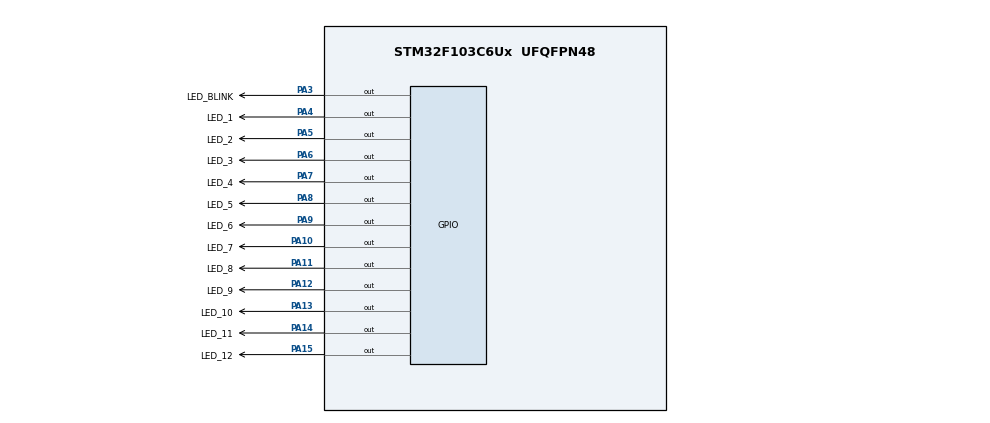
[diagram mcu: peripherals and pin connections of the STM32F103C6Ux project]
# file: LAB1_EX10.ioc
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Mcu.Family=STM32F1
Mcu.Name=STM32F103C6Ux
Mcu.Package=UFQFPN48
NVIC.PriorityGroup=NVIC_PRIORITYGROUP_4
PA10.GPIO_Label=LED_7
PA10.Signal=GPIO_Output
PA11.GPIO_Label=LED_8
PA11.Signal=GPIO_Output
PA12.GPIO_Label=LED_9
PA12.Signal=GPIO_Output
PA13.GPIO_Label=LED_10
PA13.Signal=GPIO_Output
PA14.GPIO_Label=LED_11
PA14.Signal=GPIO_Output
PA15.GPIO_Label=LED_12
PA15.Signal=GPIO_Output
PA3.GPIO_Label=LED_BLINK
PA3.Signal=GPIO_Output
PA4.GPIO_Label=LED_1
PA4.Signal=GPIO_Output
PA5.GPIO_Label=LED_2
PA5.Signal=GPIO_Output
PA6.GPIO_Label=LED_3
PA6.Signal=GPIO_Output
PA7.GPIO_Label=LED_4
PA7.Signal=GPIO_Output
PA8.GPIO_Label=LED_5
PA8.Signal=GPIO_Output
PA9.GPIO_Label=LED_6
PA9.Signal=GPIO_Output
ProjectManager.HeapSize=0x200
ProjectManager.StackSize=0x400
ProjectManager.TargetToolchain=STM32CubeIDE
RCC.APB1Freq_Value=8000000
RCC.APB2Freq_Value=8000000
VP_SYS_VS_ND.Mode=No_Debug
board=custom

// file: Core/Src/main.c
/* USER CODE BEGIN Header */
/**
  ******************************************************************************
  * @file           : main.c
  * @brief          : Main program body
  ******************************************************************************
  * @attention
  *
  * <h2><center>&copy; Copyright (c) 2025 STMicroelectronics.
  * All rights reserved.</center></h2>
  *
  * This software component is licensed by ST under BSD 3-Clause license,
  * the "License"; You may not use this file except in compliance with the
  * License. You may obtain a copy of the License at:
  *                        opensource.org/licenses/BSD-3-Clause
  *
  ******************************************************************************
  */
/* USER CODE END Header */
#include "main.h"

void SystemClock_Config(void);
static void MX_GPIO_Init(void);

int main(void)
{

  /* MCU Configuration--------------------------------------------------------*/

  /* Reset of all peripherals, Initializes the Flash interface and the Systick. */
  HAL_Init();

  /* Configure the system clock */
  SystemClock_Config();

  /* Initialize all configured peripherals */
  MX_GPIO_Init();

  /* Infinite loop */
  /* USER CODE BEGIN WHILE */

  int second_counter = 0;
  int minute_counter = 0;
  int hour_counter = 0;
  HAL_GPIO_WritePin(LED_1_GPIO_Port, LED_1_Pin, SET);
  HAL_GPIO_WritePin(LED_2_GPIO_Port, LED_2_Pin, SET);
  HAL_GPIO_WritePin(LED_3_GPIO_Port, LED_3_Pin, SET);
  HAL_GPIO_WritePin(LED_4_GPIO_Port, LED_4_Pin, SET);
  HAL_GPIO_WritePin(LED_5_GPIO_Port, LED_5_Pin, SET);
  HAL_GPIO_WritePin(LED_6_GPIO_Port, LED_6_Pin, SET);
  HAL_GPIO_WritePin(LED_7_GPIO_Port, LED_7_Pin, SET);
  HAL_GPIO_WritePin(LED_8_GPIO_Port, LED_8_Pin, SET);
  HAL_GPIO_WritePin(LED_9_GPIO_Port, LED_9_Pin, SET);
  HAL_GPIO_WritePin(LED_10_GPIO_Port, LED_10_Pin, SET);
  HAL_GPIO_WritePin(LED_11_GPIO_Port, LED_11_Pin, SET);
  HAL_GPIO_WritePin(LED_12_GPIO_Port, LED_12_Pin, RESET);
  while (1)
  {
	  HAL_GPIO_TogglePin(LED_BLINK_GPIO_Port, LED_BLINK_Pin);

	  // SECOND COUNTER
	  switch (second_counter) {
	  case 5:
		  HAL_GPIO_WritePin(LED_1_GPIO_Port, LED_1_Pin, RESET);
		  if (hour_counter != 0 && (!(minute_counter >= 0 && minute_counter < 5)))
			  HAL_GPIO_WritePin(LED_12_GPIO_Port, LED_12_Pin, SET);
		  break;
	  case 10:
		  HAL_GPIO_WritePin(LED_2_GPIO_Port, LED_2_Pin, RESET);
		  if (hour_counter != 1 && (!(minute_counter >= 5 && minute_counter < 10)))
			  HAL_GPIO_WritePin(LED_1_GPIO_Port, LED_1_Pin, SET);
		  break;
	  case 15:
		  HAL_GPIO_WritePin(LED_3_GPIO_Port, LED_3_Pin, RESET);
		  if (hour_counter != 2 && (!(minute_counter >= 10 && minute_counter < 15)))
			  HAL_GPIO_WritePin(LED_2_GPIO_Port, LED_2_Pin, SET);
		  break;
	  case 20:
		  HAL_GPIO_WritePin(LED_4_GPIO_Port, LED_4_Pin, RESET);
		  if (hour_counter != 3 && (!(minute_counter >= 15 && minute_counter < 20)))
			  HAL_GPIO_WritePin(LED_3_GPIO_Port, LED_3_Pin, SET);
		  break;
	  case 25:
		  HAL_GPIO_WritePin(LED_5_GPIO_Port, LED_5_Pin, RESET);
		  if (hour_counter != 4 && (!(minute_counter >= 20 && minute_counter < 25)))
			  HAL_GPIO_WritePin(LED_4_GPIO_Port, LED_4_Pin, SET);
		  break;
	  case 30:
		  HAL_GPIO_WritePin(LED_6_GPIO_Port, LED_6_Pin, RESET);
		  if (hour_counter != 5 && (!(minute_counter >= 25 && minute_counter < 30)))
			  HAL_GPIO_WritePin(LED_5_GPIO_Port, LED_5_Pin, SET);
		  break;
	  case 35:
		  HAL_GPIO_WritePin(LED_7_GPIO_Port, LED_7_Pin, RESET);
		  if (hour_counter != 6 && (!(minute_counter >= 30 && minute_counter < 35)))
			  HAL_GPIO_WritePin(LED_6_GPIO_Port, LED_6_Pin, SET);
		  break;
	  case 40:
		  HAL_GPIO_WritePin(LED_8_GPIO_Port, LED_8_Pin, RESET);
		  if (hour_counter != 7 && (!(minute_counter >= 35 && minute_counter < 40)))
			  HAL_GPIO_WritePin(LED_7_GPIO_Port, LED_7_Pin, SET);
		  break;
	  case 45:
		  HAL_GPIO_WritePin(LED_9_GPIO_Port, LED_9_Pin, RESET);
		  if (hour_counter != 8 && (!(minute_counter >= 40 && minute_counter < 45)))
			  HAL_GPIO_WritePin(LED_8_GPIO_Port, LED_8_Pin, SET);
		  break;
	  case 50:
		  HAL_GPIO_WritePin(LED_10_GPIO_Port, LED_10_Pin, RESET);
		  if (hour_counter != 9 && (!(minute_counter >= 45 && minute_counter < 50)))
			  HAL_GPIO_WritePin(LED_9_GPIO_Port, LED_9_Pin, SET);
		  break;
	  case 55:
		  HAL_GPIO_WritePin(LED_11_GPIO_Port, LED_11_Pin, RESET);
		  if (hour_counter != 10 && (!(minute_counter >= 50 && minute_counter < 55)))
			  HAL_GPIO_WritePin(LED_10_GPIO_Port, LED_10_Pin, SET);
		  break;
	  case 60:
		  HAL_GPIO_WritePin(LED_12_GPIO_Port, LED_12_Pin, RESET);
		  if (hour_counter != 11 && (!(minute_counter >= 55 && minute_counter < 60)))
			  HAL_GPIO_WritePin(LED_11_GPIO_Port, LED_11_Pin, SET);
		  minute_counter = minute_counter + 1;
		  second_counter = 0;
		  break;
	  default:
		  break;
	  }

	  // MINUTE COUNTER
	  switch (minute_counter) {
	  case 5:
		  HAL_GPIO_WritePin(LED_1_GPIO_Port, LED_1_Pin, RESET);
		  if (hour_counter != 0 && (!(second_counter >= 0 && second_counter < 5)))
			  HAL_GPIO_WritePin(LED_12_GPIO_Port, LED_12_Pin, SET);
		  break;
	  case 10:
		  HAL_GPIO_WritePin(LED_2_GPIO_Port, LED_2_Pin, RESET);
		  if (hour_counter != 1 && (!(second_counter >= 5 && second_counter < 10)))
			  HAL_GPIO_WritePin(LED_1_GPIO_Port, LED_1_Pin, SET);
		  break;
	  case 15:
		  HAL_GPIO_WritePin(LED_3_GPIO_Port, LED_3_Pin, RESET);
		  if (hour_counter != 2 && (!(second_counter >= 10 && second_counter < 15)))
			  HAL_GPIO_WritePin(LED_2_GPIO_Port, LED_2_Pin, SET);
		  break;
	  case 20:
		  HAL_GPIO_WritePin(LED_4_GPIO_Port, LED_4_Pin, RESET);
		  if (hour_counter != 3 && (!(second_counter >= 15 && second_counter < 20)))
			  HAL_GPIO_WritePin(LED_3_GPIO_Port, LED_3_Pin, SET);
		  break;
	  case 25:
		  HAL_GPIO_WritePin(LED_5_GPIO_Port, LED_5_Pin, RESET);
		  if (hour_counter != 4 && (!(second_counter >= 20 && second_counter < 25)))
			  HAL_GPIO_WritePin(LED_4_GPIO_Port, LED_4_Pin, SET);
		  break;
	  case 30:
		  HAL_GPIO_WritePin(LED_6_GPIO_Port, LED_6_Pin, RESET);
		  if (hour_counter != 5 && (!(second_counter >= 25 && second_counter < 30)))
			  HAL_GPIO_WritePin(LED_5_GPIO_Port, LED_5_Pin, SET);
		  break;
	  case 35:
		  HAL_GPIO_WritePin(LED_7_GPIO_Port, LED_7_Pin, RESET);
		  if (hour_counter != 6 && (!(second_counter >= 30 && second_counter < 35)))
			  HAL_GPIO_WritePin(LED_6_GPIO_Port, LED_6_Pin, SET);
		  break;
	  case 40:
		  HAL_GPIO_WritePin(LED_8_GPIO_Port, LED_8_Pin, RESET);
		  if (hour_counter != 7 && (!(second_counter >= 35 && second_counter < 40)))
			  HAL_GPIO_WritePin(LED_7_GPIO_Port, LED_7_Pin, SET);
		  break;
	  case 45:
		  HAL_GPIO_WritePin(LED_9_GPIO_Port, LED_9_Pin, RESET);
		  if (hour_counter != 8 && (!(second_counter >= 40 && second_counter < 45)))
			  HAL_GPIO_WritePin(LED_8_GPIO_Port, LED_8_Pin, SET);
		  break;
	  case 50:
		  HAL_GPIO_WritePin(LED_10_GPIO_Port, LED_10_Pin, RESET);
		  if (hour_counter != 9 && (!(second_counter >= 45 && second_counter < 50)))
			  HAL_GPIO_WritePin(LED_9_GPIO_Port, LED_9_Pin, SET);
		  break;
	  case 55:
		  HAL_GPIO_WritePin(LED_11_GPIO_Port, LED_11_Pin, RESET);
		  if (hour_counter != 10 && (!(second_counter >= 50 && second_counter < 55)))
			  HAL_GPIO_WritePin(LED_10_GPIO_Port, LED_10_Pin, SET);
		  break;
	  case 60:
		  HAL_GPIO_WritePin(LED_12_GPIO_Port, LED_12_Pin, RESET);
		  if (hour_counter != 11 && (!(second_counter >= 55 && second_counter < 60)))
			  HAL_GPIO_WritePin(LED_11_GPIO_Port, LED_11_Pin, SET);
		  hour_counter = hour_counter + 1;
		  minute_counter = 0;
		  break;
	  default:
		  break;
	  }

	  // HOUR COUNTER
	  switch (hour_counter) {
	  case 1:
		  HAL_GPIO_WritePin(LED_1_GPIO_Port, LED_1_Pin, RESET);
		  if ((!(second_counter >= 0 && second_counter < 5)) && (!(minute_counter >= 0 && minute_counter < 5)))
			  HAL_GPIO_WritePin(LED_12_GPIO_Port, LED_12_Pin, SET);
		  break;
	  case 2:
		  HAL_GPIO_WritePin(LED_2_GPIO_Port, LED_2_Pin, RESET);
		  if ((!(second_counter >= 5 && second_counter < 10)) && (!(minute_counter >= 5 && minute_counter < 10)))
			  HAL_GPIO_WritePin(LED_1_GPIO_Port, LED_1_Pin, SET);
		  break;
	  case 3:
		  HAL_GPIO_WritePin(LED_3_GPIO_Port, LED_3_Pin, RESET);
		  if ((!(second_counter >= 10 && second_counter < 15)) && (!(minute_counter >= 10 && minute_counter < 15)))
			  HAL_GPIO_WritePin(LED_2_GPIO_Port, LED_2_Pin, SET);
		  break;
	  case 4:
		  HAL_GPIO_WritePin(LED_4_GPIO_Port, LED_4_Pin, RESET);
		  if ((!(second_counter >= 15 && second_counter < 20)) && (!(minute_counter >= 15 && minute_counter < 20)))
			  HAL_GPIO_WritePin(LED_3_GPIO_Port, LED_3_Pin, SET);
		  break;
	  case 5:
		  HAL_GPIO_WritePin(LED_5_GPIO_Port, LED_5_Pin, RESET);
		  if ((!(second_counter >= 20 && second_counter < 25)) && (!(minute_counter >= 20 && minute_counter < 25)))
			  HAL_GPIO_WritePin(LED_4_GPIO_Port, LED_4_Pin, SET);
		  break;
	  case 6:
		  HAL_GPIO_WritePin(LED_6_GPIO_Port, LED_6_Pin, RESET);
		  if ((!(second_counter >= 25 && second_counter < 30)) && (!(minute_counter >= 25 && minute_counter < 30)))
			  HAL_GPIO_WritePin(LED_5_GPIO_Port, LED_5_Pin, SET);
		  break;
	  case 7:
		  HAL_GPIO_WritePin(LED_7_GPIO_Port, LED_7_Pin, RESET);
		  if ((!(second_counter >= 30 && second_counter < 35)) && (!(minute_counter >= 30 && minute_counter < 35)))
			  HAL_GPIO_WritePin(LED_6_GPIO_Port, LED_6_Pin, SET);
		  break;
	  case 8:
		  HAL_GPIO_WritePin(LED_8_GPIO_Port, LED_8_Pin, RESET);
		  if ((!(second_counter >= 35 && second_counter < 40)) && (!(minute_counter >= 35 && minute_counter < 40)))
			  HAL_GPIO_WritePin(LED_7_GPIO_Port, LED_7_Pin, SET);
		  break;
	  case 9:
		  HAL_GPIO_WritePin(LED_9_GPIO_Port, LED_9_Pin, RESET);
		  if ((!(second_counter >= 40 && second_counter < 45)) && (!(minute_counter >= 40 && minute_counter < 45)))
			  HAL_GPIO_WritePin(LED_8_GPIO_Port, LED_8_Pin, SET);
		  break;
	  case 10:
		  HAL_GPIO_WritePin(LED_10_GPIO_Port, LED_10_Pin, RESET);
		  if ((!(second_counter >= 45 && second_counter < 50)) && (!(minute_counter >= 45 && minute_counter < 50)))
			  HAL_GPIO_WritePin(LED_9_GPIO_Port, LED_9_Pin, SET);
		  break;
	  case 11:
		  HAL_GPIO_WritePin(LED_11_GPIO_Port, LED_11_Pin, RESET);
		  if ((!(second_counter >= 50 && second_counter < 55)) && (!(minute_counter >= 50 && minute_counter < 55)))
			  HAL_GPIO_WritePin(LED_10_GPIO_Port, LED_10_Pin, SET);
		  break;
	  case 12:
		  HAL_GPIO_WritePin(LED_12_GPIO_Port, LED_12_Pin, RESET);
		  if ((!(second_counter >= 55 && second_counter < 60)) && (!(minute_counter >= 55 && minute_counter < 60)))
			  HAL_GPIO_WritePin(LED_11_GPIO_Port, LED_11_Pin, SET);
		  hour_counter = 0;
		  break;
	  default:
		  break;
	  }

	  HAL_Delay(1000);
	  second_counter = second_counter + 1;
    /* USER CODE END WHILE */

  }
}

void SystemClock_Config(void)
{
  RCC_OscInitTypeDef RCC_OscInitStruct = {0};
  RCC_ClkInitTypeDef RCC_ClkInitStruct = {0};

  /** Initializes the RCC Oscillators according to the specified parameters
  * in the RCC_OscInitTypeDef structure.
  */
  RCC_OscInitStruct.OscillatorType = RCC_OSCILLATORTYPE_HSI;
  RCC_OscInitStruct.HSIState = RCC_HSI_ON;
  RCC_OscInitStruct.HSICalibrationValue = RCC_HSICALIBRATION_DEFAULT;
  RCC_OscInitStruct.PLL.PLLState = RCC_PLL_NONE;
  if (HAL_RCC_OscConfig(&RCC_OscInitStruct) != HAL_OK)
  {
    Error_Handler();
  }
  /** Initializes the CPU, AHB and APB buses clocks
  */
  RCC_ClkInitStruct.ClockType = RCC_CLOCKTYPE_HCLK|RCC_CLOCKTYPE_SYSCLK
                              |RCC_CLOCKTYPE_PCLK1|RCC_CLOCKTYPE_PCLK2;
  RCC_ClkInitStruct.SYSCLKSource = RCC_SYSCLKSOURCE_HSI;
  RCC_ClkInitStruct.AHBCLKDivider = RCC_SYSCLK_DIV1;
  RCC_ClkInitStruct.APB1CLKDivider = RCC_HCLK_DIV1;
  RCC_ClkInitStruct.APB2CLKDivider = RCC_HCLK_DIV1;

  if (HAL_RCC_ClockConfig(&RCC_ClkInitStruct, FLASH_LATENCY_0) != HAL_OK)
  {
    Error_Handler();
  }
}

static void MX_GPIO_Init(void)
{
  GPIO_InitTypeDef GPIO_InitStruct = {0};

  /* GPIO Ports Clock Enable */
  __HAL_RCC_GPIOA_CLK_ENABLE();

  /*Configure GPIO pin Output Level */
  HAL_GPIO_WritePin(GPIOA, LED_BLINK_Pin|LED_1_Pin|LED_2_Pin|LED_3_Pin
                          |LED_4_Pin|LED_5_Pin|LED_6_Pin|LED_7_Pin
                          |LED_8_Pin|LED_9_Pin|LED_10_Pin|LED_11_Pin
                          |LED_12_Pin, GPIO_PIN_RESET);

  /*Configure GPIO pins : LED_BLINK_Pin LED_1_Pin LED_2_Pin LED_3_Pin
                           LED_4_Pin LED_5_Pin LED_6_Pin LED_7_Pin
                           LED_8_Pin LED_9_Pin LED_10_Pin LED_11_Pin
                           LED_12_Pin */
  GPIO_InitStruct.Pin = LED_BLINK_Pin|LED_1_Pin|LED_2_Pin|LED_3_Pin
                          |LED_4_Pin|LED_5_Pin|LED_6_Pin|LED_7_Pin
                          |LED_8_Pin|LED_9_Pin|LED_10_Pin|LED_11_Pin
                          |LED_12_Pin;
  GPIO_InitStruct.Mode = GPIO_MODE_OUTPUT_PP;
  GPIO_InitStruct.Pull = GPIO_NOPULL;
  GPIO_InitStruct.Speed = GPIO_SPEED_FREQ_LOW;
  HAL_GPIO_Init(GPIOA, &GPIO_InitStruct);

}

void Error_Handler(void)
{
  __disable_irq();
  while (1)
  {
  }
}

/************************ (C) COPYRIGHT STMicroelectronics *****END OF FILE****/
